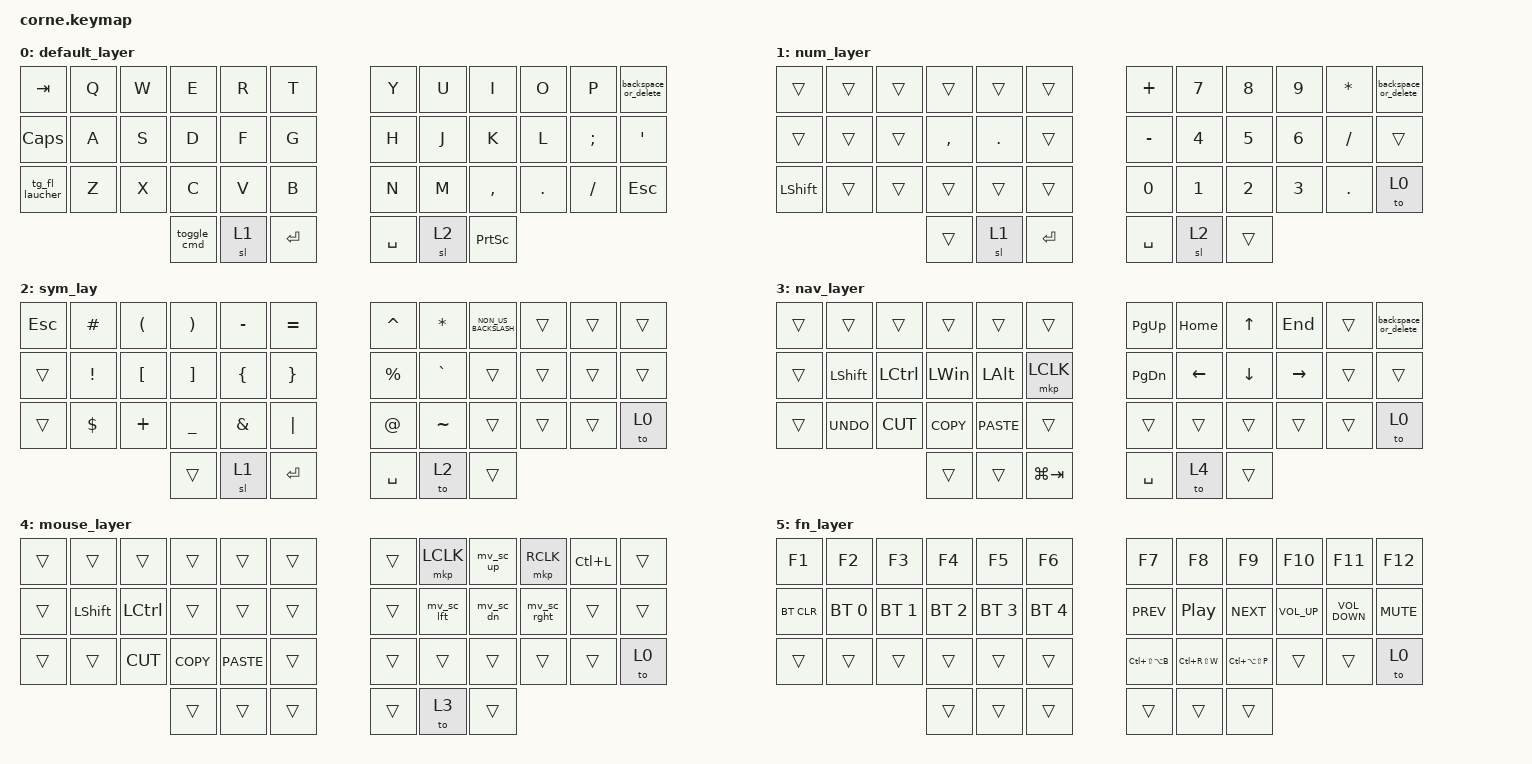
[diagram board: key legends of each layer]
/*
 * Copyright (c) 2020 The ZMK Contributors
 *
 * SPDX-License-Identifier: MIT
 */

#include <behaviors.dtsi>
#include <dt-bindings/zmk/bt.h>
#include <dt-bindings/zmk/keys.h>
#include <dt-bindings/zmk/pointing.h>

/ {
    behaviors {
        backspace_or_delete: backspace_or_delete {
            compatible = "zmk,behavior-mod-morph";
            label = "BACKSPACE_OR_DELETE";
            bindings = <&kp BACKSPACE>, <&kp DELETE>;

            #binding-cells = <0>;
            mods = <(MOD_LSFT)>;
        };

        arrup_and_pgup: arrup_and_pgup {
            compatible = "zmk,behavior-mod-morph";
            label = "ARRUP_AND_PGUP";
            bindings = <&kp UP_ARROW>, <&kp PG_UP>;

            #binding-cells = <0>;
            mods = <(MOD_LSFT)>;
        };

        arrdn_and_pgdn: arrdn_and_pgdn {
            compatible = "zmk,behavior-mod-morph";
            label = "ARRDN_AND_PGDN";
            bindings = <&kp DOWN_ARROW>, <&kp PAGE_DOWN>;

            #binding-cells = <0>;
            mods = <(MOD_LSFT)>;
        };

        arrlt_and_home: arrlt_and_home {
            compatible = "zmk,behavior-mod-morph";
            label = "ARRLT_AND_HOME";
            bindings = <&kp LEFT_ARROW>, <&kp HOME>;

            #binding-cells = <0>;
            mods = <(MOD_LSFT)>;
        };

        arrrt_and_end: arrrt_and_end {
            compatible = "zmk,behavior-mod-morph";
            label = "ARRRT_AND_END";
            bindings = <&kp RIGHT_ARROW>, <&kp END>;

            #binding-cells = <0>;
            mods = <(MOD_LSFT)>;
        };

        tg_wifi: tg_wifi {
            compatible = "zmk,behavior-hold-tap";
            label = "Toggle wifi";
            bindings = <&kp>, <&kp>;

            #binding-cells = <2>;
            tapping-term-ms = <280>;
            quick-tap-ms = <150>;
        };

        tg_bt: tg_bt {
            compatible = "zmk,behavior-hold-tap";
            label = "Toggle bluetooth";
            bindings = <&kp>, <&kp>;

            #binding-cells = <2>;
            tapping-term-ms = <280>;
            quick-tap-ms = <150>;
        };

        pwr_off: pwr_off {
            compatible = "zmk,behavior-hold-tap";
            label = "Power off";
            bindings = <&kp>, <&kp>;

            #binding-cells = <2>;
            tapping-term-ms = <280>;
            quick-tap-ms = <150>;
        };

        mv_sc_up: mv_sc_up {
            compatible = "zmk,behavior-mod-morph";
            label = "Mouse move or scroll up";
            bindings = <&mmv MOVE_UP>, <&msc SCRL_UP>;

            #binding-cells = <0>;
            mods = <(MOD_LSFT)>;
        };

        mv_sc_dn: mv_sc_dn {
            compatible = "zmk,behavior-mod-morph";
            label = "MV_SC_DN";
            bindings = <&mmv MOVE_DOWN>, <&msc SCRL_DOWN>;

            #binding-cells = <0>;
            mods = <(MOD_LSFT)>;
        };

        mv_sc_lft: mv_sc_lft {
            compatible = "zmk,behavior-mod-morph";
            label = "Mouse move or scroll left";
            bindings = <&mmv MOVE_LEFT>, <&msc SCRL_LEFT>;

            #binding-cells = <0>;
            mods = <(MOD_LSFT)>;
        };

        mv_sc_rght: mv_sc_rght {
            compatible = "zmk,behavior-mod-morph";
            label = "Mouse move or scroll right";
            bindings = <&mmv MOVE_RIGHT>, <&msc SCRL_RIGHT>;

            #binding-cells = <0>;
            mods = <(MOD_LSFT)>;
        };
    };

    macros {
        toggle_cmd: new_macro {
            compatible = "zmk,behavior-macro";
            #binding-cells = <0>;
            bindings = <&kp LC(LS(LA(C)))>, <&macro_press>;

            label = "Toggle cmd";
        };

        tg_fl_laucher: tg_flow_launcher {
            compatible = "zmk,behavior-macro";
            #binding-cells = <0>;
            bindings = <&kp LA(SPACE)>;
            label = "Toggle Flow Laucher";
        };
    };

    combos {
        compatible = "zmk,combos";

        middle_click {
            bindings = <&mkp MCLK>;
            key-positions = <7 9>;
            timeout-ms = <50>;
            layers = <4>;
        };

        to_nav_layer {
            bindings = <&to 3>;
            key-positions = <37 40>;
            layers = <0 1 4 5 3>;
        };

        to_fn {
            bindings = <&to 5>;
            key-positions = <16 30>;
            layers = <0>;
        };

        LShift_Gate {
            bindings = <&kp LEFT_SHIFT>;
            key-positions = <13 14>;
            layers = <0>;
            slow-release;
        };

        LCTRL_Chord {
            bindings = <&kp LCTRL>;
            key-positions = <13 15>;
        };

        LALT_Chord {
            bindings = <&kp LEFT_ALT>;
            key-positions = <14 15>;
        };

        LGUI_Chord {
            bindings = <&kp LWIN>;
            key-positions = <13 16>;
        };

        RSHIFT_Chord {
            bindings = <&kp RSHIFT>;
            key-positions = <22 21>;
        };

        RCTRL_Chord {
            bindings = <&kp RCTRL>;
            key-positions = <20 22>;
        };

        RGUI_Chord {
            bindings = <&kp RMETA>;
            key-positions = <20 21>;
        };

        RALT_Chord {
            bindings = <&kp RIGHT_ALT>;
            key-positions = <19 22>;
        };
    };

    keymap {
        compatible = "zmk,keymap";

        default_layer {
            // -----------------------------------------------------------------------------------------
            // | TAB  |  Q  |  W  |  E  |  R  |    T    |   |  Y  |  U   |  I  |  O  |  P  | ESC |
            // | CTRL |  A  |  S  |  D  |  F  |    G    |   |  H  |  J   |  K  |  L  |  ;  |  LWR/'   |
            // | SHFT |  Z  |  X  |  C  |  V  |    B    |   |  N  |  M   |  ,  |  .  |  /  | SHFT |
            //                    | GUI | LWR | ALT/ENT |   | HYPER/SPC | BKSP  | RSE |

            bindings = <
&kp TAB         &kp Q  &kp W  &kp E        &kp R  &kp T        &kp Y      &kp U  &kp I            &kp O    &kp P          &backspace_or_delete
&kp CAPS        &kp A  &kp S  &kp D        &kp F  &kp G        &kp H      &kp J  &kp K            &kp L    &kp SEMICOLON  &kp SQT
&tg_fl_laucher  &kp Z  &kp X  &kp C        &kp V  &kp B        &kp N      &kp M  &kp COMMA        &kp DOT  &kp FSLH       &kp ESC
                              &toggle_cmd  &sl 1  &kp ENTER    &kp SPACE  &sl 2  &kp PRINTSCREEN
            >;
        };

        num_layer {
            bindings = <
&trans     &trans  &trans  &trans     &trans      &trans       &kp PLUS   &kp NUMBER_7  &kp NUMBER_8  &kp NUMBER_9  &kp ASTERISK  &backspace_or_delete
&trans     &trans  &trans  &kp COMMA  &kp PERIOD  &trans       &kp MINUS  &kp NUMBER_4  &kp NUMBER_5  &kp NUMBER_6  &kp SLASH     &trans
&kp LSHFT  &trans  &trans  &trans     &trans      &trans       &kp N0     &kp NUMBER_1  &kp NUMBER_2  &kp NUMBER_3  &kp PERIOD    &to 0
                           &trans     &sl 1       &kp ENTER    &kp SPACE  &sl 2         &trans
            >;
        };

        sym_lay {
            bindings = <
&kp ESCAPE  &kp HASH         &kp LEFT_PARENTHESIS  &kp RIGHT_PARENTHESIS  &kp MINUS       &kp EQUAL          &kp CARET    &kp ASTERISK  &kp NON_US_BACKSLASH  &trans  &trans  &trans
&trans      &kp EXCLAMATION  &kp LEFT_BRACKET      &kp RIGHT_BRACKET      &kp LEFT_BRACE  &kp RIGHT_BRACE    &kp PERCENT  &kp GRAVE     &trans                &trans  &trans  &trans
&trans      &kp DOLLAR       &kp PLUS              &kp UNDERSCORE         &kp AMPERSAND   &kp PIPE           &kp AT_SIGN  &kp TILDE     &trans                &trans  &trans  &to 0
                                                   &trans                 &sl 1           &kp ENTER          &kp SPACE    &to 2         &trans
            >;
        };

        nav_layer {
            // -----------------------------------------------------------------------------------------
            // |      |  !  |  @  |  #  |  $  |    %     |   |  ^  |  &  |  *  |  (  |  )  |   \   |
            // |      |  1  |  2  |  3  |  4  |    5     |   |  -  |  =  |  `  |  [  |  ]  |  "|"  |
            // | SHFT |  6  |  7  |  8  |  9  |    0     |   |  _  |  +  |  ~  |  {  |  }  | RSHFT |
            //                     | GUI |     | ALT/ENT |   | HYPER/SPACE | BKSP |    |

            bindings = <
&trans  &trans          &trans     &trans        &trans        &trans         &kp PG_UP      &kp HOME        &kp UP_ARROW    &kp END          &trans  &backspace_or_delete
&trans  &kp LEFT_SHIFT  &kp LCTRL  &kp LEFT_WIN  &kp LEFT_ALT  &mkp LCLK      &kp PAGE_DOWN  &kp LEFT_ARROW  &kp DOWN_ARROW  &kp RIGHT_ARROW  &trans  &trans
&trans  &kp K_UNDO      &kp K_CUT  &kp K_COPY    &kp K_PASTE   &trans         &trans         &trans          &trans          &trans           &trans  &to 0
                                   &trans        &trans        &kp LG(TAB)    &kp SPACE      &to 4           &trans
            >;
        };

        mouse_layer {
            bindings = <
&trans  &trans          &trans     &trans      &trans       &trans    &trans  &mkp LCLK   &mv_sc_up  &mkp RCLK    &kp LC(L)  &trans
&trans  &kp LEFT_SHIFT  &kp LCTRL  &trans      &trans       &trans    &trans  &mv_sc_lft  &mv_sc_dn  &mv_sc_rght  &trans     &trans
&trans  &trans          &kp K_CUT  &kp K_COPY  &kp K_PASTE  &trans    &trans  &trans      &trans     &trans       &trans     &to 0
                                   &trans      &trans       &trans    &trans  &to 3       &trans
            >;
        };

        fn_layer {
            // -----------------------------------------------------------------------------------------
            // |       |  F1  |  F2  |  F3  |  F4  |  F5 |            |  F6  |  F7  |  F8  |  F9  |  F10  |   |
            // |       | Prev | Next | Vol - | Vol + | Play/Pause |   |      | LFT | DWN |  UP | RGT |     |     |
            // | BTCLR | BT1 | BT2 | BT3 | BT4 | BT5 |   |            |     |     |     |     |     |     |
            //                    |     |     |    |                  |     |     |     |

            bindings = <
&kp F1      &kp F2        &kp F3        &kp F4        &kp F5        &kp F6          &kp F7             &kp F8            &kp F9             &kp F10          &kp F11            &kp F12
&bt BT_CLR  &bt BT_SEL 0  &bt BT_SEL 1  &bt BT_SEL 2  &bt BT_SEL 3  &bt BT_SEL 4    &kp C_PREV         &kp C_PLAY_PAUSE  &kp C_NEXT         &kp C_VOLUME_UP  &kp C_VOLUME_DOWN  &kp K_MUTE
&trans      &trans        &trans        &trans        &trans        &trans          &kp LC(LS(LA(B)))  &kp LC(RS(W))     &kp LC(LA(LS(P)))  &trans           &trans             &to 0
                                        &trans        &trans        &trans          &trans             &trans            &trans
            >;
        };
    };
};
